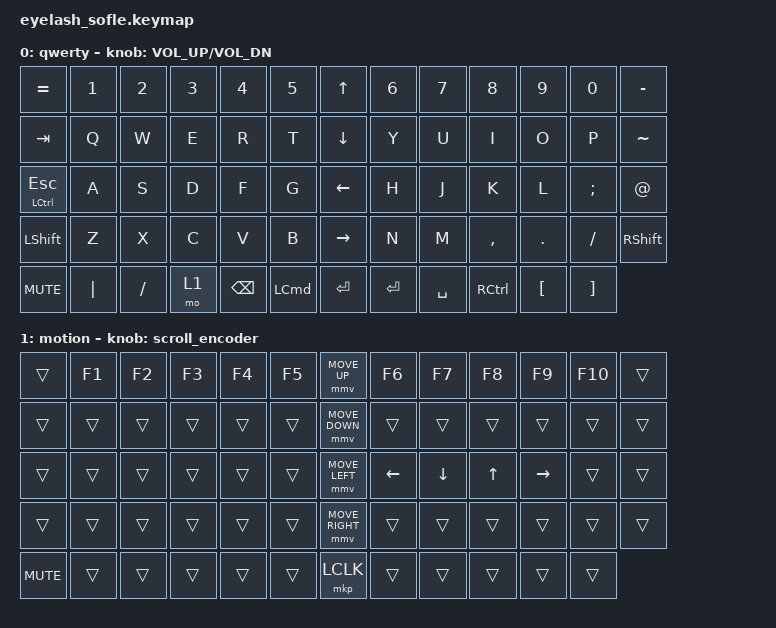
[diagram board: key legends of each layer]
#define ZMK_POINTING_DEFAULT_MOVE_VAL 1200  // 600
#define ZMK_POINTING_DEFAULT_SCRL_VAL 35    // 10

#include <input/processors.dtsi>
#include <zephyr/dt-bindings/input/input-event-codes.h>
#include <behaviors.dtsi>
#include <dt-bindings/zmk/keys.h>
#include <dt-bindings/zmk/pointing.h>
#include <dt-bindings/zmk/pointing.h>
#include <dt-bindings/zmk/pointing.h>

/ {
    zip_scroll_scaler: zip_scroll_scaler {
        compatible = "zmk,input-processor-scaler";
        #input-processor-cells = <2>;
        type = <INPUT_EV_REL>;
        codes = <INPUT_REL_WHEEL INPUT_REL_HWHEEL>;
        track-remainders;
    };
};

&mmv_input_listener { input-processors = <&zip_xy_scaler 2 1>; };

&msc_input_listener { input-processors = <&zip_scroll_scaler 2 1>; };

&msc {
    acceleration-exponent = <0>;      // 0
    time-to-max-speed-ms = <0>;       // 300
    delay-ms = <0>;                   // 0
};

&mmv {
    time-to-max-speed-ms = <400>;
    acceleration-exponent = <1>;
};

/ {
    scroll_encoder: scroll_encoder {
        compatible = "zmk,behavior-sensor-rotate";
        #sensor-binding-cells = <0>;
        bindings = <&msc SCRL_DOWN>, <&msc SCRL_UP>;

        tap-ms = <30>;
    };

    behaviors {
    };

    keymap {
        compatible = "zmk,keymap";

        qwerty {
            bindings = <
&kp EQUAL                &kp N1    &kp N2     &kp N3  &kp N4         &kp N5              &kp UP_ARROW     &kp N6     &kp N7     &kp N8             &kp N9            &kp N0             &kp MINUS
&kp TAB                  &kp Q     &kp W      &kp E   &kp R          &kp T               &kp DOWN_ARROW   &kp Y      &kp U      &kp I              &kp O             &kp P              &kp TILDE
&mt LEFT_CONTROL ESCAPE  &kp A     &kp S      &kp D   &kp F          &kp G               &kp LEFT_ARROW   &kp H      &kp J      &kp K              &kp L             &kp SEMI           &kp AT_SIGN
&kp LSHFT                &kp Z     &kp X      &kp C   &kp V          &kp B               &kp RIGHT_ARROW  &kp N      &kp M      &kp COMMA          &kp DOT           &kp FSLH           &kp RIGHT_SHIFT
&kp C_MUTE               &kp PIPE  &kp SLASH  &mo 1   &kp BACKSPACE  &kp LEFT_COMMAND    &kp ENTER        &kp ENTER  &kp SPACE  &kp RIGHT_CONTROL  &kp LEFT_BRACKET  &kp RIGHT_BRACKET
            >;

            sensor-bindings = <&inc_dec_kp C_VOLUME_UP C_VOL_DN>;
            display-name = "qwerty";
        };

        motion {
            bindings = <
&trans      &kp F1  &kp F2  &kp F3  &kp F4  &kp F5    &mmv MOVE_UP     &kp F6          &kp F7          &kp F8        &kp F9     &kp F10  &trans
&trans      &trans  &trans  &trans  &trans  &trans    &mmv MOVE_DOWN   &trans          &trans          &trans        &trans     &trans   &trans
&trans      &trans  &trans  &trans  &trans  &trans    &mmv MOVE_LEFT   &kp LEFT_ARROW  &kp DOWN_ARROW  &kp UP_ARROW  &kp RIGHT  &trans   &trans
&trans      &trans  &trans  &trans  &trans  &trans    &mmv MOVE_RIGHT  &trans          &trans          &trans        &trans     &trans   &trans
&kp C_MUTE  &trans  &trans  &trans  &trans  &trans    &mkp LCLK        &trans          &trans          &trans        &trans     &trans
            >;

            display-name = "motion";
            sensor-bindings = <&scroll_encoder>;
        };
    };
};
